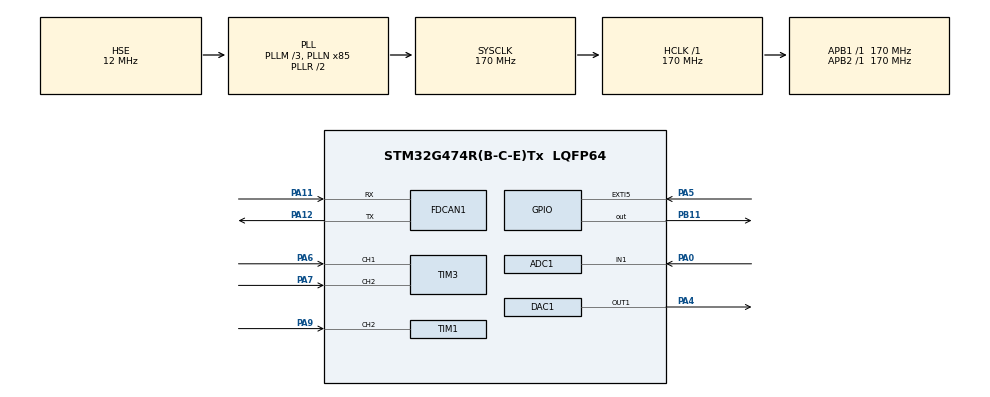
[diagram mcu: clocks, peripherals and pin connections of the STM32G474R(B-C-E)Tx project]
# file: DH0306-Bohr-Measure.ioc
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ADC1.Channel-1\#ChannelRegularConversion=ADC_CHANNEL_1
ADC1.DMAContinuousRequests=ENABLE
ADC1.ExternalTrigConv=ADC_EXTERNALTRIG_T2_TRGO
ADC1.NbrOfConversion=1
ADC1.NbrOfConversionFlag=1
ADC1.OffsetNumber-1\#ChannelRegularConversion=ADC_OFFSET_NONE
ADC1.Overrun=ADC_OVR_DATA_OVERWRITTEN
ADC1.Rank-1\#ChannelRegularConversion=1
ADC1.SamplingTime-1\#ChannelRegularConversion=ADC_SAMPLETIME_12CYCLES_5
ADC1.master=1
Dma.ADC1.0.Direction=DMA_PERIPH_TO_MEMORY
Dma.ADC1.0.EventEnable=DISABLE
Dma.ADC1.0.Instance=DMA1_Channel1
Dma.ADC1.0.MemDataAlignment=DMA_MDATAALIGN_HALFWORD
Dma.ADC1.0.MemInc=DMA_MINC_ENABLE
Dma.ADC1.0.Mode=DMA_CIRCULAR
Dma.ADC1.0.PeriphDataAlignment=DMA_PDATAALIGN_HALFWORD
Dma.ADC1.0.PeriphInc=DMA_PINC_DISABLE
Dma.ADC1.0.Polarity=HAL_DMAMUX_REQ_GEN_RISING
Dma.ADC1.0.Priority=DMA_PRIORITY_HIGH
Dma.ADC1.0.RequestNumber=1
Dma.ADC1.0.SignalID=NONE
Dma.ADC1.0.SyncEnable=DISABLE
Dma.ADC1.0.SyncPolarity=HAL_DMAMUX_SYNC_NO_EVENT
Dma.ADC1.0.SyncRequestNumber=1
Dma.ADC1.0.SyncSignalID=NONE
Dma.Request0=ADC1
FDCAN1.AutoRetransmission=ENABLE
FDCAN1.CalculateBaudRateNominal=500000
FDCAN1.CalculateTimeBitNominal=2000
FDCAN1.CalculateTimeQuantumNominal=500.0
FDCAN1.NominalPrescaler=6
FDCAN1.NominalTimeSeg1=2
FDCAN1.NominalTimeSeg2=1
FDCAN1.StdFiltersNbr=1
Mcu.Family=STM32G4
Mcu.Name=STM32G474R(B-C-E)Tx
Mcu.Package=LQFP64
NVIC.DMA1_Channel1_IRQn=true\:0\:0\:false\:false\:true\:false\:true\:true
NVIC.EXTI9_5_IRQn=true\:0\:0\:false\:false\:true\:true\:true\:true
NVIC.FDCAN1_IT0_IRQn=true\:0\:0\:false\:false\:true\:true\:true\:true
NVIC.FDCAN1_IT1_IRQn=true\:0\:0\:false\:false\:true\:true\:true\:true
NVIC.PriorityGroup=NVIC_PRIORITYGROUP_4
NVIC.TIM1_CC_IRQn=true\:0\:0\:false\:false\:true\:true\:true\:true
PA0.Mode=IN1-Single-Ended
PA0.Signal=ADC1_IN1
PA11.GPIO_Speed=GPIO_SPEED_FREQ_HIGH
PA11.Mode=FDCAN_Activate
PA11.Signal=FDCAN1_RX
PA12.GPIO_Speed=GPIO_SPEED_FREQ_HIGH
PA12.Mode=FDCAN_Activate
PA12.Signal=FDCAN1_TX
PA13.Mode=Serial_Wire
PA13.Signal=SYS_JTMS-SWDIO
PA14.Mode=Serial_Wire
PA14.Signal=SYS_JTCK-SWCLK
PA4.Signal=COMP_DAC11_group
PA5.GPIO_ModeDefaultEXTI=GPIO_MODE_IT_RISING
PA5.GPIO_PuPd=GPIO_NOPULL
PA5.Signal=GPXTI5
PA6.Signal=S_TIM3_CH1
PA7.Signal=S_TIM3_CH2
PA9.Signal=S_TIM1_CH2
PB11.Signal=GPIO_Output
PF0-OSC_IN.Mode=HSE-External-Clock-Source
PF0-OSC_IN.Signal=RCC_OSC_IN
ProjectManager.HeapSize=0x200
ProjectManager.StackSize=0x400
ProjectManager.TargetToolchain=STM32CubeIDE
RCC.ADC12Freq_Value=170000000
RCC.ADC345Freq_Value=170000000
RCC.AHBFreq_Value=170000000
RCC.APB1Freq_Value=170000000
RCC.APB1TimFreq_Value=170000000
RCC.APB2Freq_Value=170000000
RCC.APB2TimFreq_Value=170000000
RCC.CortexFreq_Value=170000000
RCC.EXTERNAL_CLOCK_VALUE=12288000
RCC.FDCANCLockSelection=RCC_FDCANCLKSOURCE_HSE
RCC.HCLKFreq_Value=170000000
RCC.HSE_VALUE=12000000
RCC.HSI48_VALUE=48000000
RCC.HSI_VALUE=16000000
RCC.LSE_VALUE=32768
RCC.PLLM=RCC_PLLM_DIV3
RCC.PLLN=85
RCC.PLLSourceVirtual=RCC_PLLSOURCE_HSE
RCC.SYSCLKFreq_VALUE=170000000
RCC.SYSCLKSource=RCC_SYSCLKSOURCE_PLLCLK
RCC.USBFreq_Value=170000000
RCC.VCOOutputFreq_Value=340000000
SH.COMP_DAC11_group.0=DAC1_OUT1,DAC_OUT1
SH.S_TIM1_CH2.0=TIM1_CH2,Input_Capture2_from_TI2
SH.S_TIM3_CH1.0=TIM3_CH1,Encoder_Interface
SH.S_TIM3_CH2.0=TIM3_CH2,Encoder_Interface
TIM1.Channel-Input_Capture2_from_TI2=TIM_CHANNEL_2
TIM1.ICPolarity_CH2=TIM_INPUTCHANNELPOLARITY_BOTHEDGE
TIM1.Prescaler=16999
TIM2.PeriodNoDither=1699
TIM2.Prescaler=100
TIM2.TIM_MasterOutputTrigger=TIM_TRGO_UPDATE
TIM3.EncoderMode=TIM_ENCODERMODE_TI12
TIM3.IC1Filter=5
TIM3.IC2Filter=5
VP_SYS_VS_DBSignals.Mode=DisableDeadBatterySignals
VP_TIM2_VS_ClockSourceINT.Mode=Internal
board=custom

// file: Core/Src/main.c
/* USER CODE BEGIN Header */
/**
  ******************************************************************************
  * @file           : main.c
  * @brief          : Main program body
  ******************************************************************************
  * @attention
  *
  * Copyright (c) 2026 STMicroelectronics.
  * All rights reserved.
  *
  * This software is licensed under terms that can be found in the LICENSE file
  * in the root directory of this software component.
  * If no LICENSE file comes with this software, it is provided AS-IS.
  *
  ******************************************************************************
  */
/* USER CODE END Header */
#include "main.h"
#include "adc.h"
#include "dac.h"
#include "dma.h"
#include "fdcan.h"
#include "tim.h"
#include "gpio.h"

/* USER CODE BEGIN Includes */
#include "sine_analyzer.h"
#include "drv_can.h"
#include "control.h"
/* USER CODE END Includes */

/* USER CODE BEGIN PV */
// 1. 定义 DMA 目标数组 (必须放在全局或静态区，确保地址稳定)
__attribute__((aligned(4))) uint16_t adc_buf[SA_ADC_BUF_SIZE];
SineWaveResult_t analyzer_result;

//  定义一个标志位，用于指示数据是否已更新 (可选，用于中断回调方式)
volatile uint8_t data_ready_flag = 0;
/* USER CODE END PV */

void SystemClock_Config(void);

int main(void)
{

  /* MCU Configuration--------------------------------------------------------*/

  /* Reset of all peripherals, Initializes the Flash interface and the Systick. */
  HAL_Init();

  /* Configure the system clock */
  SystemClock_Config();

  /* Initialize all configured peripherals */
  MX_GPIO_Init();
  MX_DMA_Init();
  MX_ADC1_Init();
  MX_TIM2_Init();
  MX_TIM1_Init();
  MX_DAC1_Init();
  MX_TIM3_Init();
  MX_FDCAN1_Init();
  /* USER CODE BEGIN 2 */
  // 初始化控制模块
  Control_Init();
  FDCAN1_StartAndConfig();//开启过滤器

  // 初始化正弦波分析模块
  SineAnalyzer_Init(&htim1, &hadc1, &hdma_adc1, adc_buf);
  // 启动 ADC 的 DMA 传输
  if (HAL_ADC_Start_DMA(&hadc1, (uint32_t*)adc_buf, SA_ADC_BUF_SIZE) != HAL_OK)
  {
    Error_Handler();
  }
  // 启动 TIM1 输入捕获中断
  HAL_TIM_IC_Start_IT(&htim1, TIM_CHANNEL_2);

  // 启动 TIM2 (ADC 触发源)
  HAL_TIM_Base_Start(&htim2);

  // 设置DAC输出3v
  HAL_DAC_Start(&hdac1, DAC_CHANNEL_1);

  HAL_DAC_SetValue(&hdac1,
                   DAC_CHANNEL_1,
                   DAC_ALIGN_12B_R,
				   3724);
  //开启编码器模式
  HAL_TIM_Encoder_Start(&htim3, TIM_CHANNEL_ALL);

  /* USER CODE END 2 */

  /* Infinite loop */
  while (1)
  {

    /* USER CODE BEGIN 3 */
    SineAnalyzer_Process(); // 处理数据
    SineAnalyzer_GetResult(&analyzer_result); // 获取结果
    DRV_CAN_ProcessData(); // 处理CAN数据
    ADC_Stream_Forward(); // 转发ADC数据
  }
  /* USER CODE END 3 */
}

void SystemClock_Config(void)
{
  RCC_OscInitTypeDef RCC_OscInitStruct = {0};
  RCC_ClkInitTypeDef RCC_ClkInitStruct = {0};

  /** Configure the main internal regulator output voltage
  */
  HAL_PWREx_ControlVoltageScaling(PWR_REGULATOR_VOLTAGE_SCALE1_BOOST);

  /** Initializes the RCC Oscillators according to the specified parameters
  * in the RCC_OscInitTypeDef structure.
  */
  RCC_OscInitStruct.OscillatorType = RCC_OSCILLATORTYPE_HSE;
  RCC_OscInitStruct.HSEState = RCC_HSE_BYPASS;
  RCC_OscInitStruct.PLL.PLLState = RCC_PLL_ON;
  RCC_OscInitStruct.PLL.PLLSource = RCC_PLLSOURCE_HSE;
  RCC_OscInitStruct.PLL.PLLM = RCC_PLLM_DIV3;
  RCC_OscInitStruct.PLL.PLLN = 85;
  RCC_OscInitStruct.PLL.PLLP = RCC_PLLP_DIV2;
  RCC_OscInitStruct.PLL.PLLQ = RCC_PLLQ_DIV2;
  RCC_OscInitStruct.PLL.PLLR = RCC_PLLR_DIV2;
  if (HAL_RCC_OscConfig(&RCC_OscInitStruct) != HAL_OK)
  {
    Error_Handler();
  }

  /** Initializes the CPU, AHB and APB buses clocks
  */
  RCC_ClkInitStruct.ClockType = RCC_CLOCKTYPE_HCLK|RCC_CLOCKTYPE_SYSCLK
                              |RCC_CLOCKTYPE_PCLK1|RCC_CLOCKTYPE_PCLK2;
  RCC_ClkInitStruct.SYSCLKSource = RCC_SYSCLKSOURCE_PLLCLK;
  RCC_ClkInitStruct.AHBCLKDivider = RCC_SYSCLK_DIV1;
  RCC_ClkInitStruct.APB1CLKDivider = RCC_HCLK_DIV1;
  RCC_ClkInitStruct.APB2CLKDivider = RCC_HCLK_DIV1;

  if (HAL_RCC_ClockConfig(&RCC_ClkInitStruct, FLASH_LATENCY_4) != HAL_OK)
  {
    Error_Handler();
  }
}

/* USER CODE BEGIN 4 */
/**
  * @brief  DMA 传输完成回调 (可选，用于高性能处理)
  */
void HAL_ADC_ConvCpltCallback(ADC_HandleTypeDef* hadc)
{
  if (hadc->Instance == ADC1)
  {
    // 当 DMA 填满整个缓冲区时进入这里
    data_ready_flag = 1;

    // 可以在这里设置一个标志，让主循环去处理，避免在中断里做耗时操作
  }
}

/**
  * @brief  DMA 半传输完成回调 (可选，实现双缓冲乒乓操作)
  */
void HAL_ADC_ConvHalfCpltCallback(ADC_HandleTypeDef* hadc)
{
  if (hadc->Instance == ADC1)
  {
    // 当 DMA 填满前半部分缓冲区时进入这里
    // 可以处理 adc_dma_buf[0] 到 adc_dma_buf[ADC_BUF_SIZE/2 - 1]
  }
}
/* USER CODE END 4 */

void Error_Handler(void)
{
  __disable_irq();
  while (1)
  {
  }
}
